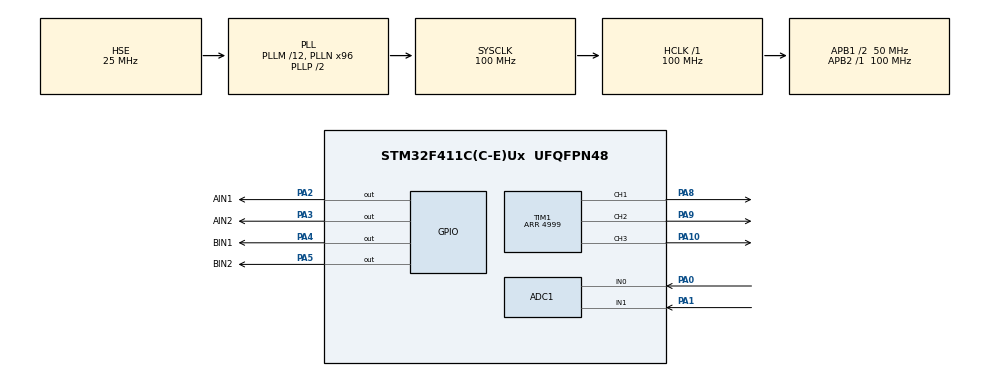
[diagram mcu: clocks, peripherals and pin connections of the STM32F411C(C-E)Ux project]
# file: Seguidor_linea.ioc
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ADC1.Channel-0\#ChannelRegularConversion=ADC_CHANNEL_0
ADC1.Channel-1\#ChannelRegularConversion=ADC_CHANNEL_1
ADC1.ContinuousConvMode=DISABLE
ADC1.DMAContinuousRequests=ENABLE
ADC1.DiscontinuousConvMode=DISABLE
ADC1.ExternalTrigConv=ADC_EXTERNALTRIGCONV_T1_CC3
ADC1.NbrOfConversion=2
ADC1.NbrOfConversionFlag=1
ADC1.Rank-0\#ChannelRegularConversion=1
ADC1.Rank-1\#ChannelRegularConversion=2
ADC1.SamplingTime-0\#ChannelRegularConversion=ADC_SAMPLETIME_15CYCLES
ADC1.SamplingTime-1\#ChannelRegularConversion=ADC_SAMPLETIME_15CYCLES
ADC1.master=1
Dma.ADC1.0.Direction=DMA_PERIPH_TO_MEMORY
Dma.ADC1.0.FIFOMode=DMA_FIFOMODE_DISABLE
Dma.ADC1.0.Instance=DMA2_Stream0
Dma.ADC1.0.MemDataAlignment=DMA_MDATAALIGN_HALFWORD
Dma.ADC1.0.MemInc=DMA_MINC_ENABLE
Dma.ADC1.0.Mode=DMA_CIRCULAR
Dma.ADC1.0.PeriphDataAlignment=DMA_PDATAALIGN_HALFWORD
Dma.ADC1.0.PeriphInc=DMA_PINC_DISABLE
Dma.ADC1.0.Priority=DMA_PRIORITY_LOW
Dma.Request0=ADC1
Mcu.Family=STM32F4
Mcu.Name=STM32F411C(C-E)Ux
Mcu.Package=UFQFPN48
NVIC.DMA2_Stream0_IRQn=true\:0\:0\:false\:false\:true\:false\:true\:true
NVIC.PriorityGroup=NVIC_PRIORITYGROUP_4
PA0-WKUP.Signal=ADCx_IN0
PA1.Signal=ADCx_IN1
PA10.Signal=S_TIM1_CH3
PA2.GPIO_Label=AIN1
PA2.Signal=GPIO_Output
PA3.GPIO_Label=AIN2
PA3.Signal=GPIO_Output
PA4.GPIO_Label=BIN1
PA4.Signal=GPIO_Output
PA5.GPIO_Label=BIN2
PA5.Signal=GPIO_Output
PA8.Signal=S_TIM1_CH1
PA9.Signal=S_TIM1_CH2
PH0\ -\ OSC_IN.Mode=HSE-External-Oscillator
PH0\ -\ OSC_IN.Signal=RCC_OSC_IN
PH1\ -\ OSC_OUT.Mode=HSE-External-Oscillator
PH1\ -\ OSC_OUT.Signal=RCC_OSC_OUT
ProjectManager.HeapSize=0x200
ProjectManager.StackSize=0x400
ProjectManager.TargetToolchain=CMake
RCC.48MHZClocksFreq_Value=50000000
RCC.AHBFreq_Value=100000000
RCC.APB1CLKDivider=RCC_HCLK_DIV2
RCC.APB1Freq_Value=50000000
RCC.APB1TimFreq_Value=100000000
RCC.APB2Freq_Value=100000000
RCC.APB2TimFreq_Value=100000000
RCC.CortexFreq_Value=100000000
RCC.HCLKFreq_Value=100000000
RCC.HSE_VALUE=25000000
RCC.HSI_VALUE=16000000
RCC.LSE_VALUE=32768
RCC.PLLM=12
RCC.PLLN=96
RCC.PLLSourceVirtual=RCC_PLLSOURCE_HSE
RCC.SYSCLKFreq_VALUE=100000000
RCC.SYSCLKSource=RCC_SYSCLKSOURCE_PLLCLK
RCC.VCOOutputFreq_Value=200000000
SH.ADCx_IN0.0=ADC1_IN0,IN0
SH.ADCx_IN1.0=ADC1_IN1,IN1
SH.S_TIM1_CH1.0=TIM1_CH1,PWM Generation1 CH1
SH.S_TIM1_CH2.0=TIM1_CH2,PWM Generation2 CH2
SH.S_TIM1_CH3.0=TIM1_CH3,Output Compare3 CH3
TIM1.AutoReloadPreload=TIM_AUTORELOAD_PRELOAD_ENABLE
TIM1.Channel-Output\ Compare3\ CH3=TIM_CHANNEL_3
TIM1.Channel-PWM\ Generation1\ CH1=TIM_CHANNEL_1
TIM1.Channel-PWM\ Generation2\ CH2=TIM_CHANNEL_2
TIM1.OCMode_3=TIM_OCMODE_TOGGLE
TIM1.Period=4999
TIM1.TIM_MasterOutputTrigger=TIM_TRGO_OC3REF
VP_TIM1_VS_ClockSourceINT.Mode=Internal
board=custom

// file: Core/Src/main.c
/* USER CODE BEGIN Header */
/**
  ******************************************************************************
  * @file           : main.c
  * @brief          : Main program body
  ******************************************************************************
  * @attention
  *
  * Copyright (c) 2026 STMicroelectronics.
  * All rights reserved.
  *
  * This software is licensed under terms that can be found in the LICENSE file
  * in the root directory of this software component.
  * If no LICENSE file comes with this software, it is provided AS-IS.
  *
  ******************************************************************************
  */
/* USER CODE END Header */
#include "main.h"

/* USER CODE BEGIN Includes */
#include "FuzzyLogic.h"
#include "Mamdani.h"
/* USER CODE END Includes */

/* USER CODE BEGIN PTD */
CarroData carro;
MotorCommand_t cmd;
/* USER CODE END PTD */

ADC_HandleTypeDef hadc1;
DMA_HandleTypeDef hdma_adc1;

TIM_HandleTypeDef htim1;

/* USER CODE BEGIN PV */
/*
Frecuencia de motores 20khz
PA8  PWM CH1  Motor derecho
PA9  PWM CH2  Motor izquierdo

PA0  ADC CH0  Sensor derecho
PA1  ADC CH1  Sensor izquierdo

*/
volatile uint8_t adc_ready = 0;
/* USER CODE END PV */

void SystemClock_Config(void);
static void MX_GPIO_Init(void);
static void MX_DMA_Init(void);
static void MX_ADC1_Init(void);
static void MX_TIM1_Init(void);

int main(void)
{

  /* MCU Configuration--------------------------------------------------------*/

  /* Reset of all peripherals, Initializes the Flash interface and the Systick. */
  HAL_Init();

  /* Configure the system clock */
  SystemClock_Config();

  /* Initialize all configured peripherals */
  MX_GPIO_Init();
  MX_DMA_Init();
  MX_ADC1_Init();
  MX_TIM1_Init();
  /* USER CODE BEGIN 2 */
  HAL_GPIO_WritePin(GPIOA, AIN1_Pin|BIN1_Pin, GPIO_PIN_SET);
  HAL_GPIO_WritePin(GPIOA, AIN2_Pin|BIN2_Pin, GPIO_PIN_RESET);
  HAL_TIM_PWM_Start(&htim1, TIM_CHANNEL_1);//PWM para motor derecho
  HAL_TIM_PWM_Start(&htim1, TIM_CHANNEL_2);//PWM para motor izquierdo
  HAL_TIM_OC_Start(&htim1, TIM_CHANNEL_3);//Trigger para ADC
  Mamdani_Init();
  HAL_ADC_Start_DMA(&hadc1, (uint32_t*)carro.Sensor, 2);
  //HAL_ADC_Start_DMA(&hadc1, (uint32_t*)carro.sensors, 2);
  /* USER CODE END 2 */

  /* Infinite loop */
  while (1)
  {

    /* USER CODE BEGIN 3 */
      Mamdani_MotorCommand(carro.Sensor[0], carro.Sensor[1], &cmd);
      __HAL_TIM_SET_COMPARE(&htim1, TIM_CHANNEL_1, (uint32_t)(cmd.left*PWM_PERIOD/100.0f));
      __HAL_TIM_SET_COMPARE(&htim1, TIM_CHANNEL_2, (uint32_t)(cmd.right*PWM_PERIOD/100.0f));
  }
  /* USER CODE END 3 */
}

void SystemClock_Config(void)
{
  RCC_OscInitTypeDef RCC_OscInitStruct = {0};
  RCC_ClkInitTypeDef RCC_ClkInitStruct = {0};

  /** Configure the main internal regulator output voltage
  */
  __HAL_RCC_PWR_CLK_ENABLE();
  __HAL_PWR_VOLTAGESCALING_CONFIG(PWR_REGULATOR_VOLTAGE_SCALE1);

  /** Initializes the RCC Oscillators according to the specified parameters
  * in the RCC_OscInitTypeDef structure.
  */
  RCC_OscInitStruct.OscillatorType = RCC_OSCILLATORTYPE_HSE;
  RCC_OscInitStruct.HSEState = RCC_HSE_ON;
  RCC_OscInitStruct.PLL.PLLState = RCC_PLL_ON;
  RCC_OscInitStruct.PLL.PLLSource = RCC_PLLSOURCE_HSE;
  RCC_OscInitStruct.PLL.PLLM = 12;
  RCC_OscInitStruct.PLL.PLLN = 96;
  RCC_OscInitStruct.PLL.PLLP = RCC_PLLP_DIV2;
  RCC_OscInitStruct.PLL.PLLQ = 4;
  if (HAL_RCC_OscConfig(&RCC_OscInitStruct) != HAL_OK)
  {
    Error_Handler();
  }

  /** Initializes the CPU, AHB and APB buses clocks
  */
  RCC_ClkInitStruct.ClockType = RCC_CLOCKTYPE_HCLK|RCC_CLOCKTYPE_SYSCLK
                              |RCC_CLOCKTYPE_PCLK1|RCC_CLOCKTYPE_PCLK2;
  RCC_ClkInitStruct.SYSCLKSource = RCC_SYSCLKSOURCE_PLLCLK;
  RCC_ClkInitStruct.AHBCLKDivider = RCC_SYSCLK_DIV1;
  RCC_ClkInitStruct.APB1CLKDivider = RCC_HCLK_DIV2;
  RCC_ClkInitStruct.APB2CLKDivider = RCC_HCLK_DIV1;

  if (HAL_RCC_ClockConfig(&RCC_ClkInitStruct, FLASH_LATENCY_3) != HAL_OK)
  {
    Error_Handler();
  }
}

static void MX_ADC1_Init(void)
{

  ADC_ChannelConfTypeDef sConfig = {0};

  /** Configure the global features of the ADC (Clock, Resolution, Data Alignment and number of conversion)
  */
  hadc1.Instance = ADC1;
  hadc1.Init.ClockPrescaler = ADC_CLOCK_SYNC_PCLK_DIV4;
  hadc1.Init.Resolution = ADC_RESOLUTION_12B;
  hadc1.Init.ScanConvMode = ENABLE;
  hadc1.Init.ContinuousConvMode = DISABLE;
  hadc1.Init.DiscontinuousConvMode = DISABLE;
  hadc1.Init.ExternalTrigConvEdge = ADC_EXTERNALTRIGCONVEDGE_RISING;
  hadc1.Init.ExternalTrigConv = ADC_EXTERNALTRIGCONV_T1_CC3;
  hadc1.Init.DataAlign = ADC_DATAALIGN_RIGHT;
  hadc1.Init.NbrOfConversion = 2;
  hadc1.Init.DMAContinuousRequests = ENABLE;
  hadc1.Init.EOCSelection = ADC_EOC_SINGLE_CONV;
  if (HAL_ADC_Init(&hadc1) != HAL_OK)
  {
    Error_Handler();
  }

  /** Configure for the selected ADC regular channel its corresponding rank in the sequencer and its sample time.
  */
  sConfig.Channel = ADC_CHANNEL_0;
  sConfig.Rank = 1;
  sConfig.SamplingTime = ADC_SAMPLETIME_15CYCLES;
  if (HAL_ADC_ConfigChannel(&hadc1, &sConfig) != HAL_OK)
  {
    Error_Handler();
  }

  /** Configure for the selected ADC regular channel its corresponding rank in the sequencer and its sample time.
  */
  sConfig.Channel = ADC_CHANNEL_1;
  sConfig.Rank = 2;
  if (HAL_ADC_ConfigChannel(&hadc1, &sConfig) != HAL_OK)
  {
    Error_Handler();
  }

}

static void MX_TIM1_Init(void)
{

  TIM_ClockConfigTypeDef sClockSourceConfig = {0};
  TIM_MasterConfigTypeDef sMasterConfig = {0};
  TIM_OC_InitTypeDef sConfigOC = {0};
  TIM_BreakDeadTimeConfigTypeDef sBreakDeadTimeConfig = {0};

  htim1.Instance = TIM1;
  htim1.Init.Prescaler = 0;
  htim1.Init.CounterMode = TIM_COUNTERMODE_UP;
  htim1.Init.Period = 4999;
  htim1.Init.ClockDivision = TIM_CLOCKDIVISION_DIV1;
  htim1.Init.RepetitionCounter = 0;
  htim1.Init.AutoReloadPreload = TIM_AUTORELOAD_PRELOAD_ENABLE;
  if (HAL_TIM_Base_Init(&htim1) != HAL_OK)
  {
    Error_Handler();
  }
  sClockSourceConfig.ClockSource = TIM_CLOCKSOURCE_INTERNAL;
  if (HAL_TIM_ConfigClockSource(&htim1, &sClockSourceConfig) != HAL_OK)
  {
    Error_Handler();
  }
  if (HAL_TIM_PWM_Init(&htim1) != HAL_OK)
  {
    Error_Handler();
  }
  if (HAL_TIM_OC_Init(&htim1) != HAL_OK)
  {
    Error_Handler();
  }
  sMasterConfig.MasterOutputTrigger = TIM_TRGO_OC3REF;
  sMasterConfig.MasterSlaveMode = TIM_MASTERSLAVEMODE_DISABLE;
  if (HAL_TIMEx_MasterConfigSynchronization(&htim1, &sMasterConfig) != HAL_OK)
  {
    Error_Handler();
  }
  sConfigOC.OCMode = TIM_OCMODE_PWM1;
  sConfigOC.Pulse = 0;
  sConfigOC.OCPolarity = TIM_OCPOLARITY_HIGH;
  sConfigOC.OCNPolarity = TIM_OCNPOLARITY_HIGH;
  sConfigOC.OCFastMode = TIM_OCFAST_DISABLE;
  sConfigOC.OCIdleState = TIM_OCIDLESTATE_RESET;
  sConfigOC.OCNIdleState = TIM_OCNIDLESTATE_RESET;
  if (HAL_TIM_PWM_ConfigChannel(&htim1, &sConfigOC, TIM_CHANNEL_1) != HAL_OK)
  {
    Error_Handler();
  }
  if (HAL_TIM_PWM_ConfigChannel(&htim1, &sConfigOC, TIM_CHANNEL_2) != HAL_OK)
  {
    Error_Handler();
  }
  sConfigOC.OCMode = TIM_OCMODE_TOGGLE;
  if (HAL_TIM_OC_ConfigChannel(&htim1, &sConfigOC, TIM_CHANNEL_3) != HAL_OK)
  {
    Error_Handler();
  }
  sBreakDeadTimeConfig.OffStateRunMode = TIM_OSSR_DISABLE;
  sBreakDeadTimeConfig.OffStateIDLEMode = TIM_OSSI_DISABLE;
  sBreakDeadTimeConfig.LockLevel = TIM_LOCKLEVEL_OFF;
  sBreakDeadTimeConfig.DeadTime = 0;
  sBreakDeadTimeConfig.BreakState = TIM_BREAK_DISABLE;
  sBreakDeadTimeConfig.BreakPolarity = TIM_BREAKPOLARITY_HIGH;
  sBreakDeadTimeConfig.AutomaticOutput = TIM_AUTOMATICOUTPUT_DISABLE;
  if (HAL_TIMEx_ConfigBreakDeadTime(&htim1, &sBreakDeadTimeConfig) != HAL_OK)
  {
    Error_Handler();
  }
  HAL_TIM_MspPostInit(&htim1);

}

static void MX_DMA_Init(void)
{

  /* DMA controller clock enable */
  __HAL_RCC_DMA2_CLK_ENABLE();

  /* DMA interrupt init */
  /* DMA2_Stream0_IRQn interrupt configuration */
  HAL_NVIC_SetPriority(DMA2_Stream0_IRQn, 0, 0);
  HAL_NVIC_EnableIRQ(DMA2_Stream0_IRQn);

}

static void MX_GPIO_Init(void)
{
  GPIO_InitTypeDef GPIO_InitStruct = {0};

  /* GPIO Ports Clock Enable */
  __HAL_RCC_GPIOH_CLK_ENABLE();
  __HAL_RCC_GPIOA_CLK_ENABLE();

  /*Configure GPIO pin Output Level */
  HAL_GPIO_WritePin(GPIOA, AIN1_Pin|AIN2_Pin|BIN1_Pin|BIN2_Pin, GPIO_PIN_RESET);

  /*Configure GPIO pins : AIN1_Pin AIN2_Pin BIN1_Pin BIN2_Pin */
  GPIO_InitStruct.Pin = AIN1_Pin|AIN2_Pin|BIN1_Pin|BIN2_Pin;
  GPIO_InitStruct.Mode = GPIO_MODE_OUTPUT_PP;
  GPIO_InitStruct.Pull = GPIO_NOPULL;
  GPIO_InitStruct.Speed = GPIO_SPEED_FREQ_LOW;
  HAL_GPIO_Init(GPIOA, &GPIO_InitStruct);

}

void Error_Handler(void)
{
  __disable_irq();
  while (1)
  {
  }
}
